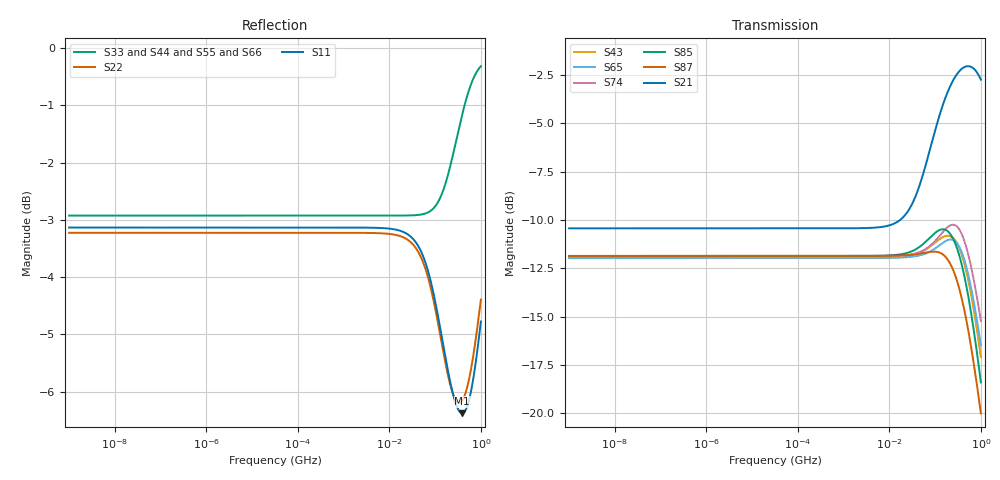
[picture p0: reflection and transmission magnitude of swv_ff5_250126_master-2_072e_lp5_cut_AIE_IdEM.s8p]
! Touchstone data
! Created: 18-Apr-2025 by IdEM 2023 (2023.0.0)
! COMMENTS
!  Touchstone file exported from Ansys Full-Wave Spice
!  Project: 0000_PSI_S-parameter_Sweep
!  Design: unknown
!  Creation time: Thu Apr 17 17:05:54 2025
!  Notes: ! Touchstone(R) file created by SIwave 2025 R1
!  : ! Touchstone(R) file created on Thu Apr 17 17:05:54 2025
!  Modal data exported
!  Port[1] = PORT_1_DIE1_VDDCR_AIE_Group_DIE1_GRP_1_1_VSS
!  Port[2] = PORT_2_BGA1_VDDCR_AIE_Group_BGA1_GRP_1_1_VSS
!  Port[3] = VDDCR_AIE_C10_2
!  Port[4] = VDDCR_AIE_C32_2
!  Port[5] = VDDCR_AIE_C90_1
!  Port[6] = VDDCR_AIE_C91_1
!  Port[7] = VDDCR_AIE_C126_2
!  Port[8] = VDDCR_AIE_C127_1
! Options Used in IdEM Flow
! Fitting Options !
! Bandwidth: 1.0000e+09 Hz
! Order: [2 2 4]
! SplitType: none
! tol: 1.0000e-03
! DC Point: enforced
! Passivity Options !
! Alg: SOC+HAM
!  Max SOC it: 200
!  Max HAM it: 50
! Freq sampling: adaptive
! DC Point: enforced
! Optimization method: Model based
# Hz S MA R 0.1
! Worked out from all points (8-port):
!   420 points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, 1 Hz to 1 GHz, reference 0.1 ohm
!   strongest paths, dB at 1 Hz, 3.687 kHz, 11.66 MHz, 482.9 MHz, 1 GHz:
!     S21: -10.4, -10.4, -10.2, -2.1, -2.7
!     S87: -11.9, -11.9, -11.8, -15.2, -20.0
!     S85: -11.9, -11.9, -11.8, -13.4, -18.4
!     S74: -11.9, -11.9, -11.9, -11.4, -15.2
!     S65: -12.0, -12.0, -12.0, -12.4, -16.5
!     S43: -12.0, -12.0, -12.0, -12.7, -17.1
!   lowest |S11| = -6.4 dB at 388.4 MHz (marker M1), VSWR 2.84, Z = 0.0484 + j0.0559 ohm
!   |S11| at or under -10 dB: nowhere
